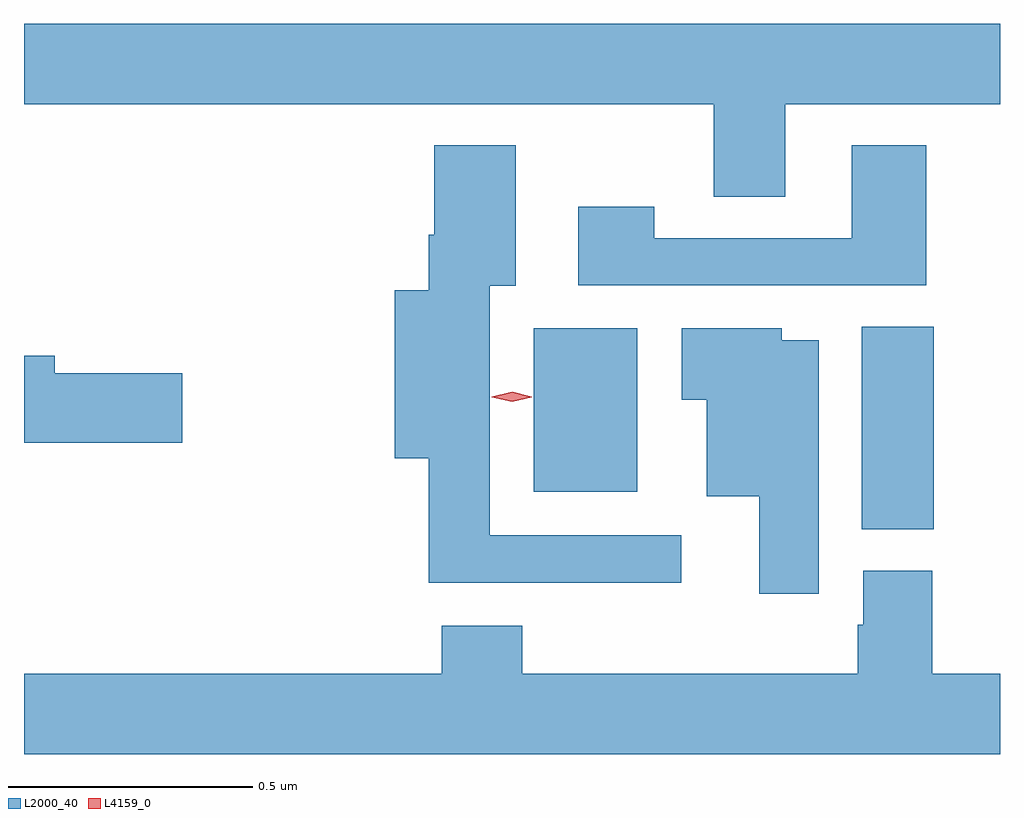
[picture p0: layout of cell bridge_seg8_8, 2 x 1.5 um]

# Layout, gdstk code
import gdstk
lib = gdstk.Library(unit=1e-6, precision=1e-09)
def R(c, l, rs):  # rectangles x0, y0, x1, y1
    for r in rs: c.add(gdstk.rectangle(r[:2], r[2:], *l))
def P(c, l, *ps):  # polygons
    for p in ps: c.add(gdstk.Polygon(p, *l))
L2000_40 = (2000, 40)
L4159_0 = (4159, 0)

bridge_seg8_8 = lib.new_cell('bridge_seg8_8')
R(bridge_seg8_8, L2000_40, [(948.788,1127.617,948.935,1128.032), (948.116,1127.693,948.328,1128.028)])
P(bridge_seg8_8, L2000_40, [(948.631,1128.488),(949.071,1128.488),(949.071,1128.652),(947.071,1128.652),(947.071,1128.488),(948.484,1128.488),(948.484,1128.298),(948.631,1128.298)],
  [(948.418,1127.604),(948.025,1127.604),(948.025,1128.116),(948.079,1128.116),(948.079,1128.403),(947.912,1128.403),(947.912,1128.22),(947.9,1128.22),(947.9,1128.106),(947.831,1128.106),(947.831,1127.762),(947.9,1127.762),(947.9,1127.507),(948.418,1127.507)],
  [(948.92,1128.403),(948.767,1128.403),(948.767,1128.213),(948.363,1128.213),(948.363,1128.277),(948.207,1128.277),(948.207,1128.117),(948.92,1128.117)],
  [(948.7,1128.004),(948.624,1128.004),(948.624,1128.028),(948.419,1128.028),(948.419,1127.882),(948.47,1127.882),(948.47,1127.684),(948.578,1127.684),(948.578,1127.484),(948.7,1127.484)],
  [(947.395,1127.936),(947.134,1127.936),(947.134,1127.972),(947.071,1127.972),(947.071,1127.794),(947.395,1127.794)],
  [(949.071,1127.32),(948.932,1127.32),(948.932,1127.532),(948.791,1127.532),(948.791,1127.421),(948.779,1127.421),(948.779,1127.32),(948.092,1127.32),(948.092,1127.419),(947.927,1127.419),(947.927,1127.32),(947.071,1127.32),(947.071,1127.156),(949.071,1127.156)])
P(bridge_seg8_8, L4159_0, [(948.071,1127.878),(948.03,1127.887),(948.03,1127.888),(948.03,1127.888),(948.071,1127.898),(948.111,1127.888),(948.111,1127.887),(948.111,1127.887)])

lib.write_gds('bridge_seg8_8.gds')
